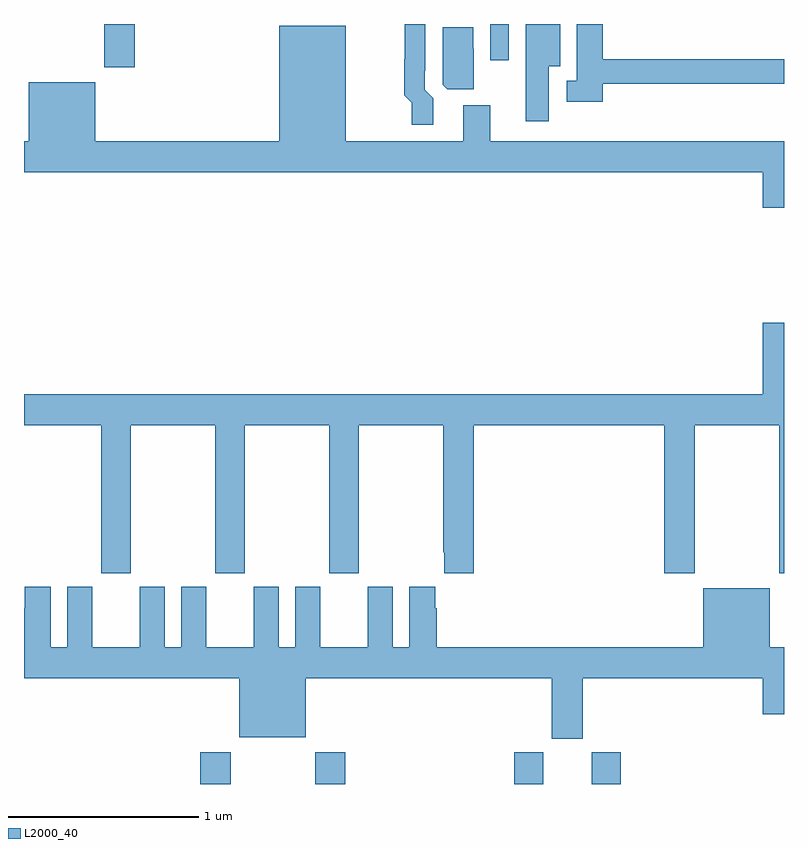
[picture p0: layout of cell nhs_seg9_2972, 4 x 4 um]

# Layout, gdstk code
import gdstk
lib = gdstk.Library(unit=1e-6, precision=1e-09)
def R(c, l, rs):  # rectangles x0, y0, x1, y1
    for r in rs: c.add(gdstk.rectangle(r[:2], r[2:], *l))
def P(c, l, *ps):  # polygons
    for p in ps: c.add(gdstk.Polygon(p, *l))
L2000_40 = (2000, 40)

nhs_seg9_2972 = lib.new_cell('nhs_seg9_2972')
R(nhs_seg9_2972, L2000_40, [(281.927,1226.5,282.087,1226.668), (282.532,1226.5,282.692,1226.668), (283.58,1226.5,283.732,1226.667), (283.988,1226.5,284.141,1226.667), (281.422,1230.273,281.582,1230.5), (283.455,1230.309,283.551,1230.5)])
P(nhs_seg9_2972, L2000_40, [(284.045,1230.186),(285,1230.186),(285,1230.314),(284.045,1230.314),(284.045,1230.5),(283.91,1230.5),(283.91,1230.202),(283.857,1230.202),(283.857,1230.092),(284.045,1230.092)],
  [(283.762,1230.278),(283.822,1230.278),(283.822,1230.5),(283.64,1230.5),(283.64,1229.988),(283.762,1229.988)],
  [(283.153,1230.11),(283.11,1230.153),(283.11,1230.253),(283.113,1230.253),(283.113,1230.5),(283.005,1230.5),(283.005,1230.314),(283.002,1230.314),(283.002,1230.124),(283.041,1230.086),(283.041,1229.97),(283.153,1229.97)],
  [(285,1229.884),(283.453,1229.884),(283.453,1230.072),(283.313,1230.072),(283.313,1229.884),(282.694,1229.884),(282.694,1230.49),(282.344,1230.49),(282.344,1229.884),(281.374,1229.884),(281.374,1230.193),(281.024,1230.193),(281.024,1229.884),(281,1229.884),(281,1229.72),(284.888,1229.72),(284.888,1229.532),(285,1229.532)],
  [(283.366,1230.371),(283.365,1230.371),(283.365,1230.482),(283.203,1230.482),(283.203,1230.18),(283.227,1230.157),(283.366,1230.157)],
  [(281.562,1228.388),(282.007,1228.388),(282.007,1227.609),(282.162,1227.609),(282.162,1228.388),(282.607,1228.388),(282.607,1227.609),(282.762,1227.609),(282.762,1228.388),(283.207,1228.388),(283.207,1227.721),(283.211,1227.721),(283.211,1227.609),(283.367,1227.609),(283.367,1228.388),(284.369,1228.388),(284.369,1227.609),(284.529,1227.609),(284.529,1228.388),(284.974,1228.388),(284.974,1227.609),(285,1227.609),(285,1228.927),(284.888,1228.927),(284.888,1228.552),(281,1228.552),(281,1228.388),(281.407,1228.388),(281.407,1227.609),(281.562,1227.609)],
  [(282.134,1226.747),(282.484,1226.747),(282.484,1227.056),(283.778,1227.056),(283.778,1226.739),(283.942,1226.739),(283.942,1227.056),(284.888,1227.056),(284.888,1226.868),(285,1226.868),(285,1227.22),(284.926,1227.22),(284.926,1227.529),(284.576,1227.529),(284.576,1227.22),(283.172,1227.22),(283.172,1227.425),(283.165,1227.425),(283.165,1227.538),(283.028,1227.538),(283.028,1227.22),(282.94,1227.22),(282.94,1227.538),(282.809,1227.538),(282.809,1227.22),(282.559,1227.22),(282.559,1227.538),(282.428,1227.538),(282.428,1227.22),(282.34,1227.22),(282.34,1227.538),(282.209,1227.538),(282.209,1227.22),(281.959,1227.22),(281.959,1227.538),(281.828,1227.538),(281.828,1227.22),(281.74,1227.22),(281.74,1227.538),(281.609,1227.538),(281.609,1227.22),(281.359,1227.22),(281.359,1227.538),(281.228,1227.538),(281.228,1227.22),(281.14,1227.22),(281.14,1227.538),(281.003,1227.538),(281.003,1227.425),(281,1227.425),(281,1227.056),(282.134,1227.056)])

lib.write_gds('nhs_seg9_2972.gds')
